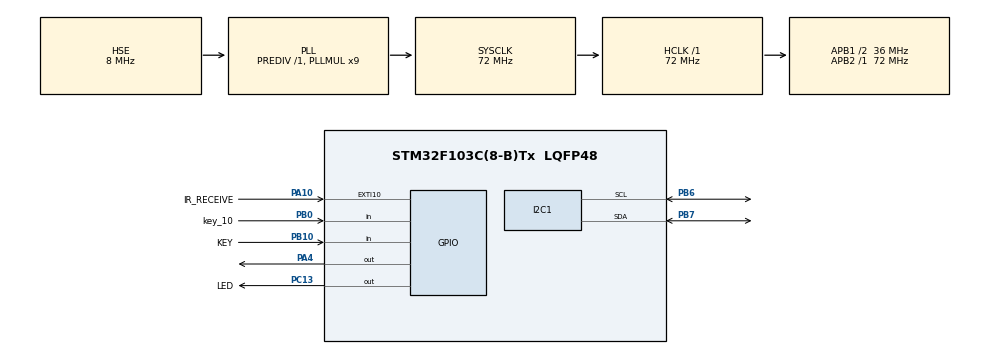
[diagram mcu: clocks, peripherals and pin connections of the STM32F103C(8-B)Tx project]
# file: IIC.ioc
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FREERTOS.Tasks01=defaultTask,24,128,StartDefaultTask,Default,NULL,Dynamic,NULL,NULL
Mcu.Family=STM32F1
Mcu.Name=STM32F103C(8-B)Tx
Mcu.Package=LQFP48
NVIC.EXTI15_10_IRQn=true\:5\:0\:false\:false\:true\:true\:true\:true\:true
NVIC.PriorityGroup=NVIC_PRIORITYGROUP_4
NVIC.TIM4_IRQn=true\:15\:0\:false\:false\:true\:false\:false\:true\:true
NVIC.TimeBase=TIM4_IRQn
NVIC.TimeBaseIP=TIM4
PA10.GPIO_Label=IR_RECEIVE
PA10.GPIO_ModeDefaultEXTI=GPIO_MODE_IT_RISING_FALLING
PA10.GPIO_PuPd=GPIO_PULLUP
PA10.Signal=GPXTI10
PA13.Mode=Serial_Wire
PA13.Signal=SYS_JTMS-SWDIO
PA14.Mode=Serial_Wire
PA14.Signal=SYS_JTCK-SWCLK
PA4.GPIO_PuPd=GPIO_PULLUP
PA4.PinState=GPIO_PIN_SET
PA4.Signal=GPIO_Output
PB0.GPIO_Label=key_10
PB0.GPIO_PuPd=GPIO_PULLUP
PB0.Signal=GPIO_Input
PB10.GPIO_Label=KEY
PB10.GPIO_PuPd=GPIO_PULLUP
PB10.Signal=GPIO_Input
PB6.Mode=I2C
PB6.Signal=I2C1_SCL
PB7.Mode=I2C
PB7.Signal=I2C1_SDA
PC13-TAMPER-RTC.GPIO_Label=LED
PC13-TAMPER-RTC.GPIO_PuPd=GPIO_PULLUP
PC13-TAMPER-RTC.PinState=GPIO_PIN_RESET
PC13-TAMPER-RTC.Signal=GPIO_Output
PD0-OSC_IN.Mode=HSE-External-Oscillator
PD0-OSC_IN.Signal=RCC_OSC_IN
PD1-OSC_OUT.Mode=HSE-External-Oscillator
PD1-OSC_OUT.Signal=RCC_OSC_OUT
ProjectManager.HeapSize=0x200
ProjectManager.StackSize=0x400
ProjectManager.TargetToolchain=CMake
RCC.AHBFreq_Value=72000000
RCC.APB1CLKDivider=RCC_HCLK_DIV2
RCC.APB1Freq_Value=36000000
RCC.APB1TimFreq_Value=72000000
RCC.APB2Freq_Value=72000000
RCC.APB2TimFreq_Value=72000000
RCC.HCLKFreq_Value=72000000
RCC.PLLMUL=RCC_PLL_MUL9
RCC.PLLSourceVirtual=RCC_PLLSOURCE_HSE
RCC.SYSCLKFreq_VALUE=72000000
RCC.SYSCLKSource=RCC_SYSCLKSOURCE_PLLCLK
RCC.USBFreq_Value=72000000
VP_FREERTOS_VS_CMSIS_V2.Mode=CMSIS_V2
VP_SYS_VS_tim4.Mode=TIM4
board=custom

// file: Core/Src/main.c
/* USER CODE BEGIN Header */
/**
  ******************************************************************************
  * @file           : main.c
  * @brief          : Main program body
  ******************************************************************************
  * @attention
  *
  * Copyright (c) 2026 STMicroelectronics.
  * All rights reserved.
  *
  * This software is licensed under terms that can be found in the LICENSE file
  * in the root directory of this software component.
  * If no LICENSE file comes with this software, it is provided AS-IS.
  *
  ******************************************************************************
  */
/* USER CODE END Header */
#include "main.h"
#include "cmsis_os.h"
#include "i2c.h"
#include "gpio.h"

/* USER CODE BEGIN Includes */
#include "driver_oled.h"
/* USER CODE END Includes */

void SystemClock_Config(void);
void MX_FREERTOS_Init(void);

int main(void)
{

  /* MCU Configuration--------------------------------------------------------*/

  /* Reset of all peripherals, Initializes the Flash interface and the Systick. */
  HAL_Init();

  /* Configure the system clock */
  SystemClock_Config();

  /* Initialize all configured peripherals */
  MX_GPIO_Init();
  MX_I2C1_Init();
  /* USER CODE BEGIN 2 */
  /* OLED 走 I2C1, 必须在 MX_I2C1_Init() 之后初始化 */
  OLED_Init();
  OLED_Clear();
  // OLED_PrintString(0, 0, "OLED Ready");
  /* USER CODE END 2 */
  /* Init scheduler */
  osKernelInitialize();  /* Call init function for freertos objects (in cmsis_os2.c) */
  MX_FREERTOS_Init();

  /* Start scheduler */
  osKernelStart();

 /* We should never get here as control is now taken by the scheduler */
  /* Infinite loop */
  /* USER CODE BEGIN WHILE */
  while (1)
  {

    /* LED 翻转 + 延时, 控制发送间隔 */
    HAL_GPIO_TogglePin(LED_GPIO_Port, LED_Pin);
    HAL_Delay(100);

    /* USER CODE END WHILE */

  }
}

void SystemClock_Config(void)
{
  RCC_OscInitTypeDef RCC_OscInitStruct = {0};
  RCC_ClkInitTypeDef RCC_ClkInitStruct = {0};

  /** Initializes the RCC Oscillators according to the specified parameters
  * in the RCC_OscInitTypeDef structure.
  */
  RCC_OscInitStruct.OscillatorType = RCC_OSCILLATORTYPE_HSE;
  RCC_OscInitStruct.HSEState = RCC_HSE_ON;
  RCC_OscInitStruct.HSEPredivValue = RCC_HSE_PREDIV_DIV1;
  RCC_OscInitStruct.HSIState = RCC_HSI_ON;
  RCC_OscInitStruct.PLL.PLLState = RCC_PLL_ON;
  RCC_OscInitStruct.PLL.PLLSource = RCC_PLLSOURCE_HSE;
  RCC_OscInitStruct.PLL.PLLMUL = RCC_PLL_MUL9;
  if (HAL_RCC_OscConfig(&RCC_OscInitStruct) != HAL_OK)
  {
    Error_Handler();
  }

  /** Initializes the CPU, AHB and APB buses clocks
  */
  RCC_ClkInitStruct.ClockType = RCC_CLOCKTYPE_HCLK|RCC_CLOCKTYPE_SYSCLK
                              |RCC_CLOCKTYPE_PCLK1|RCC_CLOCKTYPE_PCLK2;
  RCC_ClkInitStruct.SYSCLKSource = RCC_SYSCLKSOURCE_PLLCLK;
  RCC_ClkInitStruct.AHBCLKDivider = RCC_SYSCLK_DIV1;
  RCC_ClkInitStruct.APB1CLKDivider = RCC_HCLK_DIV2;
  RCC_ClkInitStruct.APB2CLKDivider = RCC_HCLK_DIV1;

  if (HAL_RCC_ClockConfig(&RCC_ClkInitStruct, FLASH_LATENCY_2) != HAL_OK)
  {
    Error_Handler();
  }
}

void HAL_TIM_PeriodElapsedCallback(TIM_HandleTypeDef *htim)
{
  if (htim->Instance == TIM4)
  {
    HAL_IncTick();
  }
}

void Error_Handler(void)
{
  __disable_irq();
  while (1)
  {
  }
}

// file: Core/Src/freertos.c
/* USER CODE BEGIN Header */
/**
  ******************************************************************************
  * File Name          : freertos.c
  * Description        : Code for freertos applications
  ******************************************************************************
  * @attention
  *
  * Copyright (c) 2026 STMicroelectronics.
  * All rights reserved.
  *
  * This software is licensed under terms that can be found in the LICENSE file
  * in the root directory of this software component.
  * If no LICENSE file comes with this software, it is provided AS-IS.
  *
  ******************************************************************************
  */
/* USER CODE END Header */

#include "FreeRTOS.h"
#include "task.h"
#include "main.h"
#include "cmsis_os.h"

/* USER CODE BEGIN Includes */
#include "driver_oled.h"
#include "driver_ir_receiver.h"
#include "driver_led.h"
#include "driver_timer.h"
#include "queue.h"
#include "stdio.h"

/* USER CODE END Includes */

/* USER CODE BEGIN PTD */
// 消息结构
typedef struct
{
  uint8_t task_id;
  uint32_t value;
  uint32_t time;
} PrintMesage_t;
/* USER CODE END PTD */

/* USER CODE BEGIN PD */
/* ---------------- 2. 全局队列句柄 ---------------- */
QueueHandle_t xPrintQueue;  // 打印队列句柄

/* USER CODE END PD */

/* USER CODE BEGIN Variables */

/* Task1/2/3 的任务句柄, 保存起来供按键任务挂起/恢复 */

/* USER CODE END Variables */
/* Definitions for defaultTask */
osThreadId_t defaultTaskHandle;
const osThreadAttr_t defaultTask_attributes = {
  .name = "defaultTask",
  .stack_size = 128 * 4,
  .priority = (osPriority_t) osPriorityNormal,
};

/* USER CODE BEGIN FunctionPrototypes */
void Task(void *pvParameters)
{
  uint8_t task_id = (uint8_t)(uintptr_t)pvParameters;  // 获取任务 ID
  PrintMesage_t msg;  // 定义消息结构体
  msg.task_id = task_id;  // 设置任务 ID
  uint32_t cnt = 0;  // 定义计数器
  // 延时一段时间, 让 OLED 任务先运行, 避免打印队列满
  vTaskDelay(pdMS_TO_TICKS(2000+task_id * 100));

  for (;;)
  {
    cnt++;  // 计数器自增
    msg.value = cnt;
    msg.task_id = task_id;
    msg.time = HAL_GetTick();   // 获取当前系统时间戳
    xQueueSend(xPrintQueue, &msg, portMAX_DELAY);  // 将消息发送到打印队列

    vTaskDelay(pdMS_TO_TICKS(3000 + task_id * 100));  // 延时 1 秒 + 任务 ID * 100 毫秒
  }
}
void OLEDTask(void *pvParameters)
{
  PrintMesage_t msg;  // 定义消息结构体
  for (;;)
  {
    // 从打印队列中接收消息
    if (xQueueReceive(xPrintQueue, &msg, portMAX_DELAY) == pdPASS)
    {
      // 拿到数据后，先把内存清空
      OLED_ClearFrameBuffer();
      // 打印任务 ID
      // 注意：y坐标 0, 2, 4, 6 (因为16号字占2页)
      char buffer[32];
      sprintf(buffer, "Task ID: %d", msg.task_id);
      OLED_PrintString(0, 0, buffer);
      // 打印计数值
      sprintf(buffer, "Value: %lu", msg.value);
      OLED_PrintString(0, 2, buffer);
      // 打印时间戳
      sprintf(buffer, "Time: %lu ms", msg.time);
      OLED_PrintString(0,4, buffer);
      // 刷新Framebuffer到OLED
       OLED_Flush();
    }
  }
}

/* USER CODE END FunctionPrototypes */

void StartDefaultTask(void *argument);

void MX_FREERTOS_Init(void); /* (MISRA C 2004 rule 8.1) */

void MX_FREERTOS_Init(void) {

  /* Create the thread(s) */
  /* creation of defaultTask */
  defaultTaskHandle = osThreadNew(StartDefaultTask, NULL, &defaultTask_attributes);

  /* USER CODE BEGIN RTOS_THREADS */
  /* add threads, ... */
  // 创建打印队列, 队列长度为 10, 每个元素大小为 PrintMesage_t
  xPrintQueue = xQueueCreate(10, sizeof(PrintMesage_t));
  // 创建 5 个任务, 每个任务的优先级为 2, 栈大小为 128
  for (int i = 0; i < 5; i++)
  {
    xTaskCreate(Task, "Task", 128, (void*)i, 2, NULL);
  }
  xTaskCreate(OLEDTask, "OLED", 256, NULL, 1, NULL);
  /* USER CODE END RTOS_THREADS */

}

void StartDefaultTask(void *argument)
{
  /* USER CODE BEGIN StartDefaultTask */
  /* Infinite loop */
  for(;;)
  {
    // OLED_PrintString(0, 0, "Hello World!");
    // HAL_Delay(500);
    HAL_GPIO_TogglePin(LED_GPIO_Port, LED_Pin);
    vTaskDelay(pdMS_TO_TICKS(100));      // 用 vTaskDelay 代替 HAL_Delay
  }
  /* USER CODE END StartDefaultTask */
}
